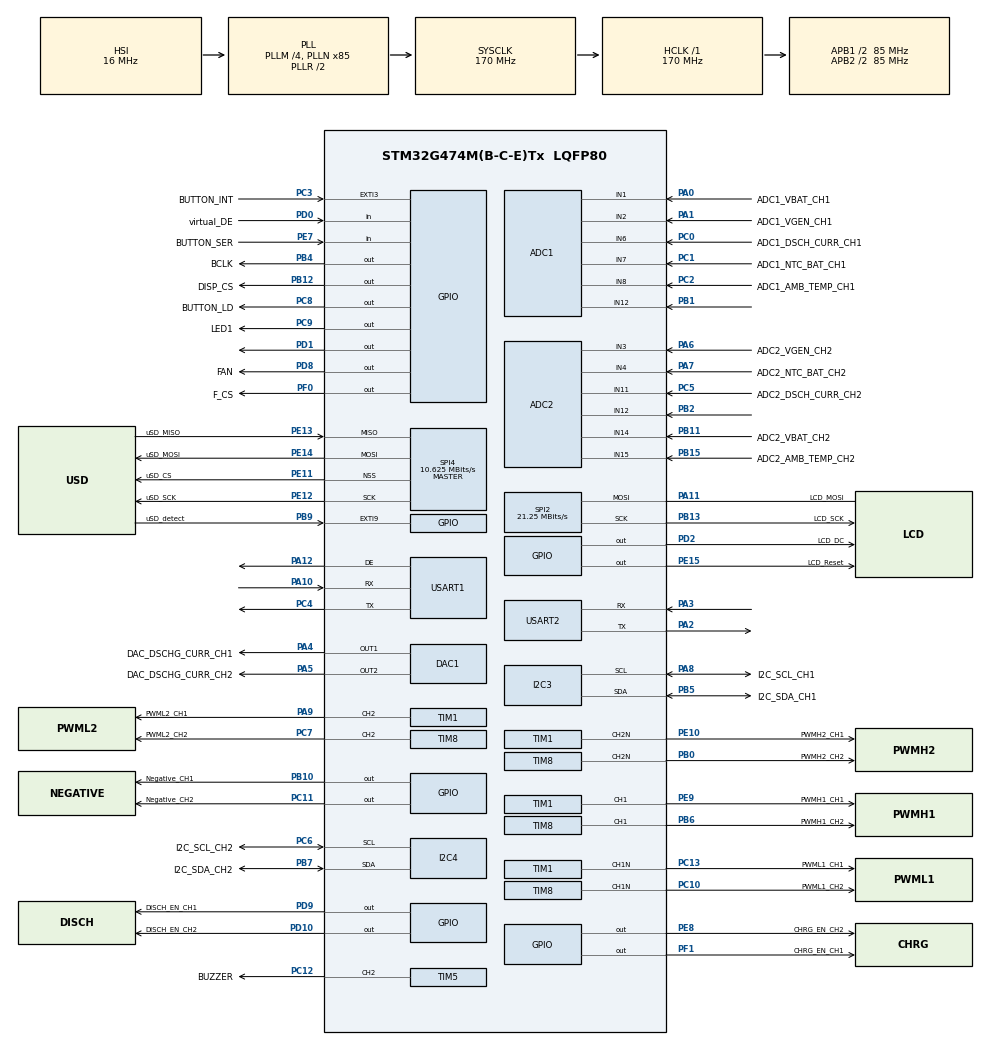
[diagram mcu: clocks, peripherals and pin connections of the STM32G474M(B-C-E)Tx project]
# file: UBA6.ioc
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ADC1.Channel-10\#ChannelRegularConversion=ADC_CHANNEL_1
ADC1.Channel-11\#ChannelRegularConversion=ADC_CHANNEL_2
ADC1.Channel-12\#ChannelRegularConversion=ADC_CHANNEL_8
ADC1.Channel-13\#ChannelRegularConversion=ADC_CHANNEL_7
ADC1.Channel-14\#ChannelRegularConversion=ADC_CHANNEL_6
ADC1.Channel-15\#ChannelRegularConversion=ADC_CHANNEL_12
ADC1.ClockPrescaler=ADC_CLOCK_SYNC_PCLK_DIV4
ADC1.ContinuousConvMode=ENABLE
ADC1.DMAContinuousRequests=DISABLE
ADC1.EOCSelection=ADC_EOC_SEQ_CONV
ADC1.EnableInjectedConversion=DISABLE
ADC1.EnableRegularConversion=ENABLE
ADC1.GainCompensation=0
ADC1.NbrOfConversion=6
ADC1.NbrOfConversionFlag=1
ADC1.OffsetNumber-10\#ChannelRegularConversion=ADC_OFFSET_NONE
ADC1.OffsetNumber-11\#ChannelRegularConversion=ADC_OFFSET_NONE
ADC1.OffsetNumber-12\#ChannelRegularConversion=ADC_OFFSET_NONE
ADC1.OffsetNumber-13\#ChannelRegularConversion=ADC_OFFSET_NONE
ADC1.OffsetNumber-14\#ChannelRegularConversion=ADC_OFFSET_NONE
ADC1.OffsetNumber-15\#ChannelRegularConversion=ADC_OFFSET_NONE
ADC1.Overrun=ADC_OVR_DATA_OVERWRITTEN
ADC1.OversamplingMode=DISABLE
ADC1.Rank-10\#ChannelRegularConversion=1
ADC1.Rank-11\#ChannelRegularConversion=2
ADC1.Rank-12\#ChannelRegularConversion=3
ADC1.Rank-13\#ChannelRegularConversion=4
ADC1.Rank-14\#ChannelRegularConversion=5
ADC1.Rank-15\#ChannelRegularConversion=6
ADC1.SamplingTime-10\#ChannelRegularConversion=ADC_SAMPLETIME_247CYCLES_5
ADC1.SamplingTime-11\#ChannelRegularConversion=ADC_SAMPLETIME_47CYCLES_5
ADC1.SamplingTime-12\#ChannelRegularConversion=ADC_SAMPLETIME_47CYCLES_5
ADC1.SamplingTime-13\#ChannelRegularConversion=ADC_SAMPLETIME_47CYCLES_5
ADC1.SamplingTime-14\#ChannelRegularConversion=ADC_SAMPLETIME_47CYCLES_5
ADC1.SamplingTime-15\#ChannelRegularConversion=ADC_SAMPLETIME_247CYCLES_5
ADC1.master=1
ADC2.Channel-0\#ChannelRegularConversion=ADC_CHANNEL_14
ADC2.Channel-1\#ChannelRegularConversion=ADC_CHANNEL_3
ADC2.Channel-2\#ChannelRegularConversion=ADC_CHANNEL_15
ADC2.Channel-3\#ChannelRegularConversion=ADC_CHANNEL_4
ADC2.Channel-4\#ChannelRegularConversion=ADC_CHANNEL_11
ADC2.Channel-5\#ChannelRegularConversion=ADC_CHANNEL_12
ADC2.ClockPrescaler=ADC_CLOCK_SYNC_PCLK_DIV4
ADC2.ContinuousConvMode=ENABLE
ADC2.EOCSelection=ADC_EOC_SEQ_CONV
ADC2.NbrOfConversion=6
ADC2.NbrOfConversionFlag=1
ADC2.Offset-0\#ChannelRegularConversion=100
ADC2.Offset-1\#ChannelRegularConversion=50
ADC2.OffsetNumber-0\#ChannelRegularConversion=ADC_OFFSET_NONE
ADC2.OffsetNumber-1\#ChannelRegularConversion=ADC_OFFSET_NONE
ADC2.OffsetNumber-2\#ChannelRegularConversion=ADC_OFFSET_NONE
ADC2.OffsetNumber-3\#ChannelRegularConversion=ADC_OFFSET_NONE
ADC2.OffsetNumber-4\#ChannelRegularConversion=ADC_OFFSET_NONE
ADC2.OffsetNumber-5\#ChannelRegularConversion=ADC_OFFSET_NONE
ADC2.OffsetSign-0\#ChannelRegularConversion=ADC_OFFSET_SIGN_POSITIVE
ADC2.Overrun=ADC_OVR_DATA_OVERWRITTEN
ADC2.OversamplingMode=ENABLE
ADC2.Rank-0\#ChannelRegularConversion=1
ADC2.Rank-1\#ChannelRegularConversion=2
ADC2.Rank-2\#ChannelRegularConversion=3
ADC2.Rank-3\#ChannelRegularConversion=4
ADC2.Rank-4\#ChannelRegularConversion=5
ADC2.Rank-5\#ChannelRegularConversion=6
ADC2.Ratio=ADC_OVERSAMPLING_RATIO_16
ADC2.RightBitShift=ADC_RIGHTBITSHIFT_4
ADC2.SamplingTime-0\#ChannelRegularConversion=ADC_SAMPLETIME_247CYCLES_5
ADC2.SamplingTime-1\#ChannelRegularConversion=ADC_SAMPLETIME_247CYCLES_5
ADC2.SamplingTime-2\#ChannelRegularConversion=ADC_SAMPLETIME_47CYCLES_5
ADC2.SamplingTime-3\#ChannelRegularConversion=ADC_SAMPLETIME_47CYCLES_5
ADC2.SamplingTime-4\#ChannelRegularConversion=ADC_SAMPLETIME_247CYCLES_5
ADC2.SamplingTime-5\#ChannelRegularConversion=ADC_SAMPLETIME_47CYCLES_5
DAC1.DAC_Channel-DAC_OUT2=DAC_CHANNEL_2
DAC1.DAC_OutputBuffer-DAC_OUT1=DAC_OUTPUTBUFFER_DISABLE
DAC1.DAC_OutputBuffer-DAC_OUT2=DAC_OUTPUTBUFFER_DISABLE
Dma.ADC1.0.Direction=DMA_PERIPH_TO_MEMORY
Dma.ADC1.0.EventEnable=DISABLE
Dma.ADC1.0.Instance=DMA1_Channel1
Dma.ADC1.0.MemDataAlignment=DMA_MDATAALIGN_HALFWORD
Dma.ADC1.0.MemInc=DMA_MINC_ENABLE
Dma.ADC1.0.Mode=DMA_NORMAL
Dma.ADC1.0.PeriphDataAlignment=DMA_PDATAALIGN_HALFWORD
Dma.ADC1.0.PeriphInc=DMA_PINC_DISABLE
Dma.ADC1.0.Polarity=HAL_DMAMUX_REQ_GEN_RISING
Dma.ADC1.0.Priority=DMA_PRIORITY_HIGH
Dma.ADC1.0.RequestNumber=1
Dma.ADC1.0.SignalID=NONE
Dma.ADC1.0.SyncEnable=DISABLE
Dma.ADC1.0.SyncPolarity=HAL_DMAMUX_SYNC_NO_EVENT
Dma.ADC1.0.SyncRequestNumber=1
Dma.ADC1.0.SyncSignalID=NONE
Dma.ADC2.1.Direction=DMA_PERIPH_TO_MEMORY
Dma.ADC2.1.EventEnable=DISABLE
Dma.ADC2.1.Instance=DMA1_Channel4
Dma.ADC2.1.MemDataAlignment=DMA_MDATAALIGN_HALFWORD
Dma.ADC2.1.MemInc=DMA_MINC_ENABLE
Dma.ADC2.1.Mode=DMA_NORMAL
Dma.ADC2.1.PeriphDataAlignment=DMA_PDATAALIGN_HALFWORD
Dma.ADC2.1.PeriphInc=DMA_PINC_DISABLE
Dma.ADC2.1.Polarity=HAL_DMAMUX_REQ_GEN_RISING
Dma.ADC2.1.Priority=DMA_PRIORITY_MEDIUM
Dma.ADC2.1.RequestNumber=1
Dma.ADC2.1.SignalID=NONE
Dma.ADC2.1.SyncEnable=DISABLE
Dma.ADC2.1.SyncPolarity=HAL_DMAMUX_SYNC_NO_EVENT
Dma.ADC2.1.SyncRequestNumber=1
Dma.ADC2.1.SyncSignalID=NONE
Dma.Request0=ADC1
Dma.Request1=ADC2
Dma.Request2=TIM1_CH1
Dma.Request3=TIM1_CH2
Dma.Request4=TIM8_CH1
Dma.Request5=TIM8_CH2
Dma.Request6=USART2_TX
Dma.Request7=USART1_RX
Dma.Request8=USART1_TX
Dma.TIM1_CH1.2.Direction=DMA_MEMORY_TO_PERIPH
Dma.TIM1_CH1.2.EventEnable=DISABLE
Dma.TIM1_CH1.2.Instance=DMA1_Channel3
Dma.TIM1_CH1.2.MemDataAlignment=DMA_MDATAALIGN_WORD
Dma.TIM1_CH1.2.MemInc=DMA_MINC_ENABLE
Dma.TIM1_CH1.2.Mode=DMA_CIRCULAR
Dma.TIM1_CH1.2.PeriphDataAlignment=DMA_PDATAALIGN_WORD
Dma.TIM1_CH1.2.PeriphInc=DMA_PINC_DISABLE
Dma.TIM1_CH1.2.Polarity=HAL_DMAMUX_REQ_GEN_RISING
Dma.TIM1_CH1.2.Priority=DMA_PRIORITY_HIGH
Dma.TIM1_CH1.2.RequestNumber=1
Dma.TIM1_CH1.2.SignalID=NONE
Dma.TIM1_CH1.2.SyncEnable=DISABLE
Dma.TIM1_CH1.2.SyncPolarity=HAL_DMAMUX_SYNC_NO_EVENT
Dma.TIM1_CH1.2.SyncRequestNumber=1
Dma.TIM1_CH1.2.SyncSignalID=NONE
Dma.TIM1_CH2.3.Direction=DMA_MEMORY_TO_PERIPH
Dma.TIM1_CH2.3.EventEnable=DISABLE
Dma.TIM1_CH2.3.Instance=DMA1_Channel6
Dma.TIM1_CH2.3.MemDataAlignment=DMA_MDATAALIGN_WORD
Dma.TIM1_CH2.3.MemInc=DMA_MINC_ENABLE
Dma.TIM1_CH2.3.Mode=DMA_CIRCULAR
Dma.TIM1_CH2.3.PeriphDataAlignment=DMA_PDATAALIGN_WORD
Dma.TIM1_CH2.3.PeriphInc=DMA_PINC_DISABLE
Dma.TIM1_CH2.3.Polarity=HAL_DMAMUX_REQ_GEN_RISING
Dma.TIM1_CH2.3.Priority=DMA_PRIORITY_HIGH
Dma.TIM1_CH2.3.RequestNumber=1
Dma.TIM1_CH2.3.SignalID=NONE
Dma.TIM1_CH2.3.SyncEnable=DISABLE
Dma.TIM1_CH2.3.SyncPolarity=HAL_DMAMUX_SYNC_NO_EVENT
Dma.TIM1_CH2.3.SyncRequestNumber=1
Dma.TIM1_CH2.3.SyncSignalID=NONE
Dma.TIM8_CH1.4.Direction=DMA_MEMORY_TO_PERIPH
Dma.TIM8_CH1.4.EventEnable=DISABLE
Dma.TIM8_CH1.4.Instance=DMA1_Channel2
Dma.TIM8_CH1.4.MemDataAlignment=DMA_MDATAALIGN_WORD
Dma.TIM8_CH1.4.MemInc=DMA_MINC_ENABLE
Dma.TIM8_CH1.4.Mode=DMA_CIRCULAR
Dma.TIM8_CH1.4.PeriphDataAlignment=DMA_PDATAALIGN_WORD
Dma.TIM8_CH1.4.PeriphInc=DMA_PINC_DISABLE
Dma.TIM8_CH1.4.Polarity=HAL_DMAMUX_REQ_GEN_RISING
Dma.TIM8_CH1.4.Priority=DMA_PRIORITY_HIGH
Dma.TIM8_CH1.4.RequestNumber=1
Dma.TIM8_CH1.4.SignalID=NONE
Dma.TIM8_CH1.4.SyncEnable=DISABLE
Dma.TIM8_CH1.4.SyncPolarity=HAL_DMAMUX_SYNC_NO_EVENT
Dma.TIM8_CH1.4.SyncRequestNumber=1
Dma.TIM8_CH1.4.SyncSignalID=NONE
Dma.TIM8_CH2.5.Direction=DMA_MEMORY_TO_PERIPH
Dma.TIM8_CH2.5.EventEnable=DISABLE
Dma.TIM8_CH2.5.Instance=DMA1_Channel5
Dma.TIM8_CH2.5.MemDataAlignment=DMA_MDATAALIGN_WORD
Dma.TIM8_CH2.5.MemInc=DMA_MINC_ENABLE
Dma.TIM8_CH2.5.Mode=DMA_CIRCULAR
Dma.TIM8_CH2.5.PeriphDataAlignment=DMA_PDATAALIGN_WORD
Dma.TIM8_CH2.5.PeriphInc=DMA_PINC_DISABLE
Dma.TIM8_CH2.5.Polarity=HAL_DMAMUX_REQ_GEN_RISING
Dma.TIM8_CH2.5.Priority=DMA_PRIORITY_HIGH
Dma.TIM8_CH2.5.RequestNumber=1
Dma.TIM8_CH2.5.SignalID=NONE
Dma.TIM8_CH2.5.SyncEnable=DISABLE
Dma.TIM8_CH2.5.SyncPolarity=HAL_DMAMUX_SYNC_NO_EVENT
Dma.TIM8_CH2.5.SyncRequestNumber=1
Dma.TIM8_CH2.5.SyncSignalID=NONE
Dma.USART1_RX.7.Direction=DMA_PERIPH_TO_MEMORY
Dma.USART1_RX.7.EventEnable=DISABLE
Dma.USART1_RX.7.Instance=DMA1_Channel7
Dma.USART1_RX.7.MemDataAlignment=DMA_MDATAALIGN_BYTE
Dma.USART1_RX.7.MemInc=DMA_MINC_ENABLE
Dma.USART1_RX.7.Mode=DMA_CIRCULAR
Dma.USART1_RX.7.PeriphDataAlignment=DMA_PDATAALIGN_BYTE
Dma.USART1_RX.7.PeriphInc=DMA_PINC_DISABLE
Dma.USART1_RX.7.Polarity=HAL_DMAMUX_REQ_GEN_RISING
Dma.USART1_RX.7.Priority=DMA_PRIORITY_VERY_HIGH
Dma.USART1_RX.7.RequestNumber=1
Dma.USART1_RX.7.SignalID=NONE
Dma.USART1_RX.7.SyncEnable=DISABLE
Dma.USART1_RX.7.SyncPolarity=HAL_DMAMUX_SYNC_NO_EVENT
Dma.USART1_RX.7.SyncRequestNumber=1
Dma.USART1_RX.7.SyncSignalID=NONE
Dma.USART1_TX.8.Direction=DMA_MEMORY_TO_PERIPH
Dma.USART1_TX.8.EventEnable=DISABLE
Dma.USART1_TX.8.Instance=DMA2_Channel1
Dma.USART1_TX.8.MemDataAlignment=DMA_MDATAALIGN_BYTE
Dma.USART1_TX.8.MemInc=DMA_MINC_ENABLE
Dma.USART1_TX.8.Mode=DMA_NORMAL
Dma.USART1_TX.8.PeriphDataAlignment=DMA_PDATAALIGN_BYTE
Dma.USART1_TX.8.PeriphInc=DMA_PINC_DISABLE
Dma.USART1_TX.8.Polarity=HAL_DMAMUX_REQ_GEN_RISING
Dma.USART1_TX.8.Priority=DMA_PRIORITY_LOW
Dma.USART1_TX.8.RequestNumber=1
Dma.USART1_TX.8.SignalID=NONE
Dma.USART1_TX.8.SyncEnable=DISABLE
Dma.USART1_TX.8.SyncPolarity=HAL_DMAMUX_SYNC_NO_EVENT
Dma.USART1_TX.8.SyncRequestNumber=1
Dma.USART1_TX.8.SyncSignalID=NONE
Dma.USART2_TX.6.Direction=DMA_MEMORY_TO_PERIPH
Dma.USART2_TX.6.EventEnable=DISABLE
Dma.USART2_TX.6.Instance=DMA1_Channel8
Dma.USART2_TX.6.MemDataAlignment=DMA_MDATAALIGN_BYTE
Dma.USART2_TX.6.MemInc=DMA_MINC_ENABLE
Dma.USART2_TX.6.Mode=DMA_NORMAL
Dma.USART2_TX.6.PeriphDataAlignment=DMA_PDATAALIGN_BYTE
Dma.USART2_TX.6.PeriphInc=DMA_PINC_DISABLE
Dma.USART2_TX.6.Polarity=HAL_DMAMUX_REQ_GEN_RISING
Dma.USART2_TX.6.Priority=DMA_PRIORITY_HIGH
Dma.USART2_TX.6.RequestNumber=1
Dma.USART2_TX.6.SignalID=NONE
Dma.USART2_TX.6.SyncEnable=DISABLE
Dma.USART2_TX.6.SyncPolarity=HAL_DMAMUX_SYNC_NO_EVENT
Dma.USART2_TX.6.SyncRequestNumber=1
Dma.USART2_TX.6.SyncSignalID=NONE
FATFS._CODE_PAGE=850
FATFS._FS_NORTC=0
FATFS._FS_TINY=0
FATFS._MAX_SS=512
FATFS._MIN_SS=512
FATFS._USE_LFN=1
I2C3.Timing=0x10E1A6F2
I2C4.Timing=0x10E1A6F2
Mcu.Family=STM32G4
Mcu.Name=STM32G474M(B-C-E)Tx
Mcu.Package=LQFP80
NVIC.DMA1_Channel1_IRQn=true\:1\:0\:true\:false\:true\:false\:true\:true
NVIC.DMA1_Channel2_IRQn=true\:0\:0\:false\:false\:true\:false\:true\:true
NVIC.DMA1_Channel3_IRQn=true\:0\:0\:false\:false\:true\:false\:true\:true
NVIC.DMA1_Channel4_IRQn=true\:0\:0\:false\:false\:true\:false\:true\:true
NVIC.DMA1_Channel5_IRQn=true\:0\:0\:false\:false\:true\:false\:true\:true
NVIC.DMA1_Channel6_IRQn=true\:0\:0\:false\:false\:true\:false\:true\:true
NVIC.DMA1_Channel7_IRQn=true\:0\:0\:false\:false\:true\:false\:true\:true
NVIC.DMA1_Channel8_IRQn=true\:0\:0\:false\:false\:true\:false\:true\:true
NVIC.DMA2_Channel1_IRQn=true\:0\:0\:false\:false\:true\:false\:true\:true
NVIC.EXTI3_IRQn=true\:1\:0\:true\:false\:true\:true\:true\:true
NVIC.EXTI9_5_IRQn=true\:1\:0\:true\:false\:true\:true\:true\:true
NVIC.PriorityGroup=NVIC_PRIORITYGROUP_4
NVIC.TIM1_UP_TIM16_IRQn=true\:0\:0\:false\:false\:true\:true\:true\:true
NVIC.USART1_IRQn=true\:0\:0\:false\:false\:true\:true\:true\:true
NVIC.USART2_IRQn=true\:0\:0\:false\:false\:true\:true\:true\:true
PA0.GPIO_Label=ADC1_VBAT_CH1
PA0.Mode=IN1-Single-Ended
PA0.Signal=ADC1_IN1
PA1.GPIO_Label=ADC1_VGEN_CH1
PA1.Mode=IN2-Single-Ended
PA1.Signal=ADC1_IN2
PA10.Mode=Asynchronous
PA10.Signal=USART1_RX
PA11.GPIO_Label=LCD_MOSI
PA11.GPIO_Speed=GPIO_SPEED_FREQ_VERY_HIGH
PA11.Mode=Simplex_Bidirectional_Master
PA11.Signal=SPI2_MOSI
PA12.Mode=Hardware Flow Control (RS485)
PA12.Signal=USART1_DE
PA13.GPIO_Label=SWDIO
PA13.Mode=JTAG_4_pins
PA13.Signal=SYS_JTMS-SWDIO
PA14.GPIO_Label=SWCLK
PA14.Mode=JTAG_4_pins
PA14.Signal=SYS_JTCK-SWCLK
PA15.GPIO_Label=JTDI
PA15.Mode=JTAG_4_pins
PA15.Signal=SYS_JTDI
PA2.Mode=Asynchronous
PA2.Signal=USART2_TX
PA3.Mode=Asynchronous
PA3.Signal=USART2_RX
PA4.GPIO_Label=DAC_DSCHG_CURR_CH1
PA4.Signal=COMP_DAC11_group
PA5.GPIO_Label=DAC_DSCHG_CURR_CH2
PA5.Signal=COMP_DAC12_group
PA6.GPIO_Label=ADC2_VGEN_CH2
PA6.Mode=IN3-Single-Ended
PA6.Signal=ADC2_IN3
PA7.GPIO_Label=ADC2_NTC_BAT_CH2
PA7.Mode=IN4-Single-Ended
PA7.Signal=ADC2_IN4
PA8.GPIO_Label=I2C_SCL_CH1
PA8.Mode=I2C
PA8.Signal=I2C3_SCL
PA9.GPIO_Label=PWML2_CH1
PA9.Signal=S_TIM1_CH2
PB0.GPIO_Label=PWMH2_CH2
PB0.GPIO_ModeDefaultPP=GPIO_MODE_AF_PP
PB0.GPIO_PuPd=GPIO_NOPULL
PB0.GPIO_Speed=GPIO_SPEED_FREQ_LOW
PB0.Mode=PWM Generation2 CH2 CH2N
PB0.Signal=TIM8_CH2N
PB1.Mode=IN12-Single-Ended
PB1.Signal=ADC1_IN12
PB10.GPIO_Label=Negative_CH1
PB10.Signal=GPIO_Output
PB11.GPIO_Label=ADC2_VBAT_CH2
PB11.Mode=IN14-Single-Ended
PB11.Signal=ADC2_IN14
PB12.GPIO_Label=DISP_CS
PB12.Signal=GPIO_Output
PB13.GPIO_Label=LCD_SCK
PB13.GPIO_Speed=GPIO_SPEED_FREQ_VERY_HIGH
PB13.Mode=Simplex_Bidirectional_Master
PB13.Signal=SPI2_SCK
PB14.Signal=SPI2_MISO
PB15.GPIO_Label=ADC2_AMB_TEMP_CH2
PB15.Mode=IN15-Single-Ended
PB15.Signal=ADC2_IN15
PB2.Mode=IN12-Single-Ended
PB2.Signal=ADC2_IN12
PB3.GPIO_Label=SWO
PB3.Mode=JTAG_4_pins
PB3.Signal=SYS_JTDO-SWO
PB4.GPIO_Label=BCLK
PB4.Signal=GPIO_Output
PB5.GPIO_Label=I2C_SDA_CH1
PB5.Mode=I2C
PB5.Signal=I2C3_SDA
PB6.GPIO_Label=PWMH1_CH2
PB6.Signal=S_TIM8_CH1
PB7.GPIO_Label=I2C_SDA_CH2
PB7.Mode=I2C
PB7.Signal=I2C4_SDA
PB9.GPIO_Label=uSD_detect
PB9.GPIO_ModeDefaultEXTI=GPIO_MODE_IT_RISING_FALLING
PB9.Signal=GPXTI9
PC0.GPIO_Label=ADC1_DSCH_CURR_CH1
PC0.Mode=IN6-Single-Ended
PC0.Signal=ADC1_IN6
PC1.GPIO_Label=ADC1_NTC_BAT_CH1
PC1.Mode=IN7-Single-Ended
PC1.Signal=ADC1_IN7
PC10.GPIO_Label=PWML1_CH2
PC10.Mode=PWM Generation1 CH1 CH1N
PC10.Signal=TIM8_CH1N
PC11.GPIO_Label=Negative_CH2
PC11.Signal=GPIO_Output
PC12.GPIO_Label=BUZZER
PC12.Signal=S_TIM5_CH2
PC13.GPIO_Label=PWML1_CH1
PC13.Mode=PWM Generation1 CH1 CH1N
PC13.Signal=TIM1_CH1N
PC14-OSC32_IN.Mode=LSE-External-Oscillator
PC14-OSC32_IN.Signal=RCC_OSC32_IN
PC15-OSC32_OUT.Mode=LSE-External-Oscillator
PC15-OSC32_OUT.Signal=RCC_OSC32_OUT
PC2.GPIO_Label=ADC1_AMB_TEMP_CH1
PC2.Mode=IN8-Single-Ended
PC2.Signal=ADC1_IN8
PC3.GPIO_Label=BUTTON_INT
PC3.GPIO_ModeDefaultEXTI=GPIO_MODE_IT_RISING_FALLING
PC3.GPIO_PuPd=GPIO_PULLUP
PC3.Signal=GPXTI3
PC4.Mode=Asynchronous
PC4.Signal=USART1_TX
PC5.GPIO_Label=ADC2_DSCH_CURR_CH2
PC5.Mode=IN11-Single-Ended
PC5.Signal=ADC2_IN11
PC6.GPIO_Label=I2C_SCL_CH2
PC6.Mode=I2C
PC6.Signal=I2C4_SCL
PC7.GPIO_Label=PWML2_CH2
PC7.GPIO_ModeDefaultPP=GPIO_MODE_AF_PP
PC7.GPIO_PuPd=GPIO_NOPULL
PC7.GPIO_Speed=GPIO_SPEED_FREQ_LOW
PC7.Signal=S_TIM8_CH2
PC8.GPIO_Label=BUTTON_LD
PC8.Signal=GPIO_Output
PC9.GPIO_Label=LED1
PC9.PinState=GPIO_PIN_SET
PC9.Signal=GPIO_Output
PD0.GPIO_Label=virtual_DE
PD0.GPIO_PuPd=GPIO_NOPULL
PD0.Signal=GPIO_Input
PD1.Signal=GPIO_Output
PD10.GPIO_Label=DISCH_EN_CH2
PD10.Signal=GPIO_Output
PD2.GPIO_Label=LCD_DC
PD2.GPIO_Speed=GPIO_SPEED_FREQ_VERY_HIGH
PD2.PinState=GPIO_PIN_RESET
PD2.Signal=GPIO_Output
PD8.GPIO_Label=FAN
PD8.Signal=GPIO_Output
PD9.GPIO_Label=DISCH_EN_CH1
PD9.Signal=GPIO_Output
PE10.GPIO_Label=PWMH2_CH1
PE10.Mode=PWM Generation2 CH2 CH2N
PE10.Signal=TIM1_CH2N
PE11.GPIO_Label=uSD_CS
PE11.GPIO_PuPd=GPIO_NOPULL
PE11.GPIO_Speed=GPIO_SPEED_FREQ_HIGH
PE11.Mode=NSS_Signal_Hard_Output
PE11.Signal=SPI4_NSS
PE12.GPIO_Label=uSD_SCK
PE12.GPIO_Speed=GPIO_SPEED_FREQ_VERY_HIGH
PE12.Mode=Full_Duplex_Master
PE12.Signal=SPI4_SCK
PE13.GPIO_Label=uSD_MISO
PE13.GPIO_Speed=GPIO_SPEED_FREQ_VERY_HIGH
PE13.Mode=Full_Duplex_Master
PE13.Signal=SPI4_MISO
PE14.GPIO_Label=uSD_MOSI
PE14.GPIO_Speed=GPIO_SPEED_FREQ_VERY_HIGH
PE14.Mode=Full_Duplex_Master
PE14.Signal=SPI4_MOSI
PE15.GPIO_Label=LCD_Reset
PE15.GPIO_Speed=GPIO_SPEED_FREQ_VERY_HIGH
PE15.Signal=GPIO_Output
PE7.GPIO_Label=BUTTON_SER
PE7.Signal=GPIO_Input
PE8.GPIO_Label=CHRG_EN_CH2
PE8.Signal=GPIO_Output
PE9.GPIO_Label=PWMH1_CH1
PE9.Signal=S_TIM1_CH1
PF0-OSC_IN.GPIO_Label=F_CS
PF0-OSC_IN.Signal=GPIO_Output
PF1-OSC_OUT.GPIO_Label=CHRG_EN_CH1
PF1-OSC_OUT.Signal=GPIO_Output
ProjectManager.HeapSize=0x200
ProjectManager.StackSize=0x400
ProjectManager.TargetToolchain=STM32CubeIDE
RCC.ADC12Freq_Value=170000000
RCC.ADC345Freq_Value=170000000
RCC.AHBFreq_Value=170000000
RCC.APB1CLKDivider=RCC_HCLK_DIV2
RCC.APB1Freq_Value=85000000
RCC.APB1TimFreq_Value=170000000
RCC.APB2CLKDivider=RCC_HCLK_DIV2
RCC.APB2Freq_Value=85000000
RCC.APB2TimFreq_Value=170000000
RCC.CortexFreq_Value=170000000
RCC.EXTERNAL_CLOCK_VALUE=12288000
RCC.HCLKFreq_Value=170000000
RCC.HSE_VALUE=8000000
RCC.HSI48_VALUE=48000000
RCC.HSI_VALUE=16000000
RCC.PLLM=RCC_PLLM_DIV4
RCC.PLLN=85
RCC.RTCClockSelection=RCC_RTCCLKSOURCE_LSE
RCC.SYSCLKFreq_VALUE=170000000
RCC.SYSCLKSource=RCC_SYSCLKSOURCE_PLLCLK
RCC.USART1CLockSelection=RCC_USART1CLKSOURCE_SYSCLK
RCC.USBFreq_Value=170000000
RCC.VCOOutputFreq_Value=340000000
SH.COMP_DAC11_group.0=DAC1_OUT1,DAC_OUT1
SH.COMP_DAC12_group.0=DAC1_OUT2,DAC_OUT2
SH.S_TIM1_CH1.0=TIM1_CH1,PWM Generation1 CH1 CH1N
SH.S_TIM1_CH2.0=TIM1_CH2,PWM Generation2 CH2 CH2N
SH.S_TIM5_CH2.0=TIM5_CH2,PWM Generation2 CH2
SH.S_TIM8_CH1.0=TIM8_CH1,PWM Generation1 CH1 CH1N
SH.S_TIM8_CH2.0=TIM8_CH2,PWM Generation2 CH2 CH2N
SPI2.BaudRatePrescaler=SPI_BAUDRATEPRESCALER_4
SPI2.CLKPhase=SPI_PHASE_2EDGE
SPI2.CLKPolarity=SPI_POLARITY_HIGH
SPI2.CalculateBaudRate=21.25 MBits/s
SPI2.DataSize=SPI_DATASIZE_8BIT
SPI2.Direction=SPI_DIRECTION_1LINE
SPI2.Mode=SPI_MODE_MASTER
SPI2.VirtualType=VM_MASTER
SPI4.BaudRatePrescaler=SPI_BAUDRATEPRESCALER_8
SPI4.CalculateBaudRate=10.625 MBits/s
SPI4.DataSize=SPI_DATASIZE_8BIT
SPI4.Direction=SPI_DIRECTION_2LINES
SPI4.Mode=SPI_MODE_MASTER
SPI4.VirtualNSS=VM_NSSHARD
SPI4.VirtualType=VM_MASTER
SYS.PVDLevel=PWR_PVDLEVEL_6
TIM1.Channel-PWM\ Generation1\ CH1\ CH1N=TIM_CHANNEL_1
TIM1.Channel-PWM\ Generation2\ CH2\ CH2N=TIM_CHANNEL_2
TIM1.ClockDivision=TIM_CLOCKDIVISION_DIV4
TIM1.CounterMode=TIM_COUNTERMODE_CENTERALIGNED1
TIM1.DeadTime=6
TIM1.DeadTimePreload=ENABLE
TIM1.OCFastMode_PWM-PWM\ Generation1\ CH1\ CH1N=TIM_OCFAST_ENABLE
TIM1.OCFastMode_PWM-PWM\ Generation2\ CH2\ CH2N=TIM_OCFAST_ENABLE
TIM1.OCNPolarity_1=TIM_OCNPOLARITY_HIGH
TIM1.OCNPolarity_2=TIM_OCNPOLARITY_HIGH
TIM1.OCPolarity_1=TIM_OCPOLARITY_HIGH
TIM1.OCPolarity_2=TIM_OCPOLARITY_HIGH
TIM1.PeriodNoDither=0x1FF
TIM1.PulseNoDither_1=32
TIM1.PulseNoDither_2=32
TIM1.RepetitionCounter=32
TIM5.AutoReloadPreload=TIM_AUTORELOAD_PRELOAD_ENABLE
TIM5.Channel-PWM\ Generation2\ CH2=TIM_CHANNEL_2
TIM5.PeriodNoDither=1000
TIM5.Prescaler=160
TIM8.BreakState=TIM_BREAK_DISABLE
TIM8.Channel-PWM\ Generation1\ CH1\ CH1N=TIM_CHANNEL_1
TIM8.Channel-PWM\ Generation2\ CH2\ CH2N=TIM_CHANNEL_2
TIM8.ClockDivision=TIM_CLOCKDIVISION_DIV4
TIM8.CounterMode=TIM_COUNTERMODE_CENTERALIGNED1
TIM8.DeadTime=6
TIM8.DeadTimePreload=ENABLE
TIM8.OCFastMode_PWM-PWM\ Generation1\ CH1\ CH1N=TIM_OCFAST_ENABLE
TIM8.OCFastMode_PWM-PWM\ Generation2\ CH2\ CH2N=TIM_OCFAST_ENABLE
TIM8.OCNPolarity_1=TIM_OCNPOLARITY_HIGH
TIM8.OCNPolarity_2=TIM_OCNPOLARITY_HIGH
TIM8.OCPolarity_1=TIM_OCPOLARITY_HIGH
TIM8.PeriodNoDither=0x1FF
TIM8.PulseNoDither_1=32
TIM8.PulseNoDither_2=32
TIM8.RepetitionCounter=32
USART1.VirtualMode-Asynchronous=VM_ASYNC
USART1.VirtualMode-Hardware\ Flow\ Control\ (RS485)=VM_ASYNC
USART2.SwapParam=ADVFEATURE_SWAP_ENABLE
USART2.VirtualMode-Asynchronous=VM_ASYNC
VP_FATFS_VS_Generic.Mode=User_defined
VP_RCC_VS_LSE.Mode=CRS SYNC Source LSE
VP_RTC_VS_RTC_Activate.Mode=RTC_Enabled
VP_RTC_VS_RTC_Calendar.Mode=RTC_Calendar
VP_SYS_VS_DBSignals.Mode=DisableDeadBatterySignals
VP_SYS_V_PVD_IN.Mode=Mode_PVD_Int
VP_SYS_V_VREFBUF.Mode=ExternalMode
VP_TIM1_VS_ClockSourceINT.Mode=Internal
VP_TIM5_VS_ClockSourceINT.Mode=Internal
VP_TIM8_VS_ClockSourceINT.Mode=Internal
board=custom

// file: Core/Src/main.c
/* USER CODE BEGIN Header */
/**
 ******************************************************************************
 * @file           : main.c
 * @brief          : Main program body
 ******************************************************************************
 * @attention
 *
 * Copyright (c) 2024 STMicroelectronics.
 * All rights reserved.
 *
 * This software is licensed under terms that can be found in the LICENSE file
 * in the root directory of this software component.
 * If no LICENSE file comes with this software, it is provided AS-IS.
 *
 ******************************************************************************
 */
/* USER CODE END Header */
#include "main.h"
#include "adc.h"
#include "dac.h"
#include "dma.h"
#include "app_fatfs.h"
#include "i2c.h"
#include "rtc.h"
#include "spi.h"
#include "tim.h"
#include "usart.h"
#include "gpio.h"

/* USER CODE BEGIN Includes */
#include "UBA_6.h"
#include "uart_log.h"
#include "IRQ_handle.h"
#include "file_logger.h"
#include "ST7789_STM32_Driver.h"
#include "LCD.h"
#include "UBA_battery_performance_test.h"
#include "UBA_line.h"
#include "UBA_channel.h"
#include "UBA_test_routine.h"
#include "UBA_button.h"
#include "UBA_buzzer.h"
#include "UBA_DC_DC_converter.h"
#include "UBA_command.h"
#include "UBA_UART_comm.h"
#include "UBA_util.h"
#include "PLI74HC166.h"
/* USER CODE END Includes */

/* USER CODE BEGIN PD */
#define UBA_COMP "MAIN"
/* USER CODE END PD */

/* USER CODE BEGIN PM */
#define MAJOR 0
#define MINOR 1

const uint8_t BL_Version[2] = { MAJOR, MINOR };

/* USER CODE END PM */

void SystemClock_Config(void);

int main(void)
{

  /* MCU Configuration--------------------------------------------------------*/

  /* Reset of all peripherals, Initializes the Flash interface and the Systick. */
  HAL_Init();

  /* Configure the system clock */
  SystemClock_Config();

  /* Initialize all configured peripherals */
  MX_GPIO_Init();
  MX_DMA_Init();
  MX_ADC1_Init();
  MX_ADC2_Init();
  MX_DAC1_Init();
  MX_I2C3_Init();
  MX_I2C4_Init();
  MX_SPI2_Init();
  MX_SPI4_Init();
  if (MX_FATFS_Init() != APP_OK) {
    Error_Handler();
  }
  MX_USART2_UART_Init(); //logger port
  MX_TIM1_Init();
  MX_USART1_UART_Init(); //calibration/sw loader/web interface (RS485)
  MX_TIM8_Init();
  MX_RTC_Init();
  MX_TIM5_Init();
  /* USER CODE BEGIN 2 */
    uart_printf("Starting UBA6 {%d.%d}\n", BL_Version[0], BL_Version[1]);
	//HAL_TIM_PWM_Start(&htim4,TIM_CHANNEL_2);
	UART_LOG_INFO(UBA_COMP, "System Init - %s", get_RTC_date_time_str());
	test_print();

	HAL_Delay(10);
	HAL_GPIO_WritePin(FAN_GPIO_Port, FAN_Pin, GPIO_PIN_RESET);
	UBA_line_init_local_lines();
	UBA_TR_demo_init();
	file_logger_print();
	UBA_UART_comm_init();
	PLI74HC166_init(&buttons_driver_g);
  /* USER CODE END 2 */

  /* Infinite loop */
  /* USER CODE BEGIN WHILE */

	while (1) {
		UBA_6_run(&UBA_6_device_g);
		UBA_line_run(&UBA_LINE_A);
		UBA_line_run(&UBA_LINE_B);
		LCD_run(&UBA_LCD_g);
		UBA_UART_comm_run();
		UBA_buzzer_run(&buzzer_g);
    /* USER CODE END WHILE */

	}
}

void SystemClock_Config(void)
{
  RCC_OscInitTypeDef RCC_OscInitStruct = {0};
  RCC_ClkInitTypeDef RCC_ClkInitStruct = {0};
  RCC_CRSInitTypeDef pInit = {0};

  /** Configure the main internal regulator output voltage
  */
  HAL_PWREx_ControlVoltageScaling(PWR_REGULATOR_VOLTAGE_SCALE1_BOOST);

  /** Configure LSE Drive Capability
  */
  HAL_PWR_EnableBkUpAccess();
  __HAL_RCC_LSEDRIVE_CONFIG(RCC_LSEDRIVE_LOW);

  /** Initializes the RCC Oscillators according to the specified parameters
  * in the RCC_OscInitTypeDef structure.
  */
  RCC_OscInitStruct.OscillatorType = RCC_OSCILLATORTYPE_HSI|RCC_OSCILLATORTYPE_LSE;
  RCC_OscInitStruct.LSEState = RCC_LSE_ON;
  RCC_OscInitStruct.HSIState = RCC_HSI_ON;
  RCC_OscInitStruct.HSICalibrationValue = RCC_HSICALIBRATION_DEFAULT;
  RCC_OscInitStruct.PLL.PLLState = RCC_PLL_ON;
  RCC_OscInitStruct.PLL.PLLSource = RCC_PLLSOURCE_HSI;
  RCC_OscInitStruct.PLL.PLLM = RCC_PLLM_DIV4;
  RCC_OscInitStruct.PLL.PLLN = 85;
  RCC_OscInitStruct.PLL.PLLP = RCC_PLLP_DIV2;
  RCC_OscInitStruct.PLL.PLLQ = RCC_PLLQ_DIV2;
  RCC_OscInitStruct.PLL.PLLR = RCC_PLLR_DIV2;
  if (HAL_RCC_OscConfig(&RCC_OscInitStruct) != HAL_OK)
  {
    Error_Handler();
  }

  /** Initializes the CPU, AHB and APB buses clocks
  */
  RCC_ClkInitStruct.ClockType = RCC_CLOCKTYPE_HCLK|RCC_CLOCKTYPE_SYSCLK
                              |RCC_CLOCKTYPE_PCLK1|RCC_CLOCKTYPE_PCLK2;
  RCC_ClkInitStruct.SYSCLKSource = RCC_SYSCLKSOURCE_PLLCLK;
  RCC_ClkInitStruct.AHBCLKDivider = RCC_SYSCLK_DIV1;
  RCC_ClkInitStruct.APB1CLKDivider = RCC_HCLK_DIV2;
  RCC_ClkInitStruct.APB2CLKDivider = RCC_HCLK_DIV2;

  if (HAL_RCC_ClockConfig(&RCC_ClkInitStruct, FLASH_LATENCY_4) != HAL_OK)
  {
    Error_Handler();
  }

  /** Enable the SYSCFG APB clock
  */
  __HAL_RCC_CRS_CLK_ENABLE();

  /** Configures CRS
  */
  pInit.Prescaler = RCC_CRS_SYNC_DIV1;
  pInit.Source = RCC_CRS_SYNC_SOURCE_LSE;
  pInit.Polarity = RCC_CRS_SYNC_POLARITY_RISING;
  pInit.ReloadValue = __HAL_RCC_CRS_RELOADVALUE_CALCULATE(48000000,32768);
  pInit.ErrorLimitValue = 34;
  pInit.HSI48CalibrationValue = 32;

  HAL_RCCEx_CRSConfig(&pInit);
}

void Error_Handler(void)
{
  /* USER CODE BEGIN Error_Handler_Debug */

	UART_LOG_CRITICAL(UBA_COMP, "Enter Error Handler, IRQ will be Disable");
	/* User can add his own implementation to report the HAL error return state */
	__disable_irq();
	while (1) {
	}
  /* USER CODE END Error_Handler_Debug */
}
